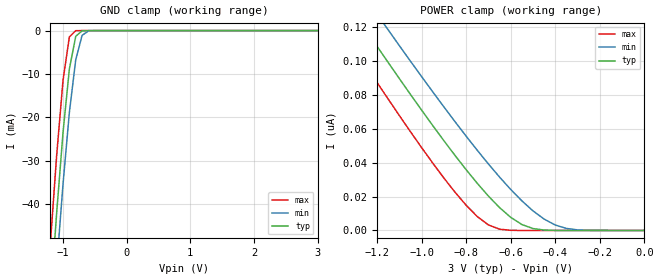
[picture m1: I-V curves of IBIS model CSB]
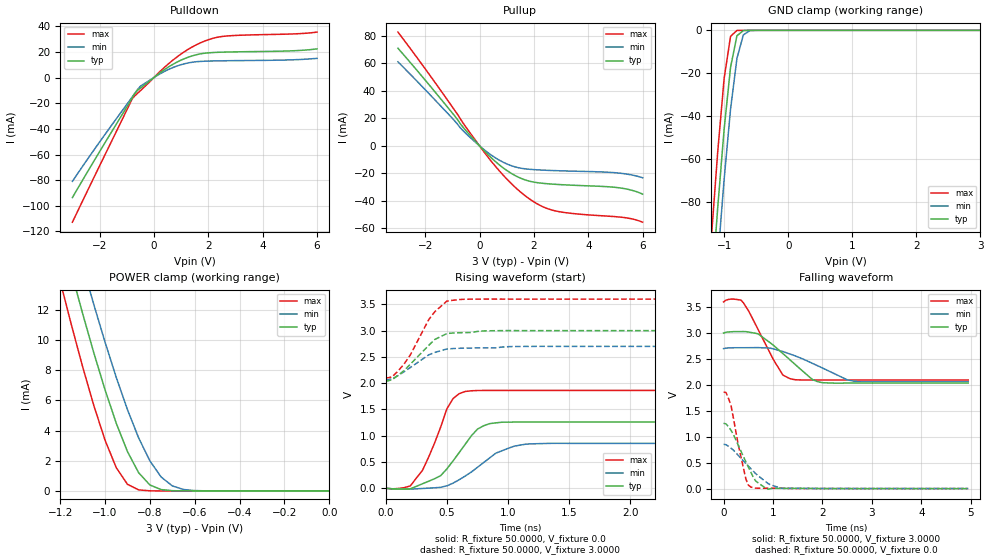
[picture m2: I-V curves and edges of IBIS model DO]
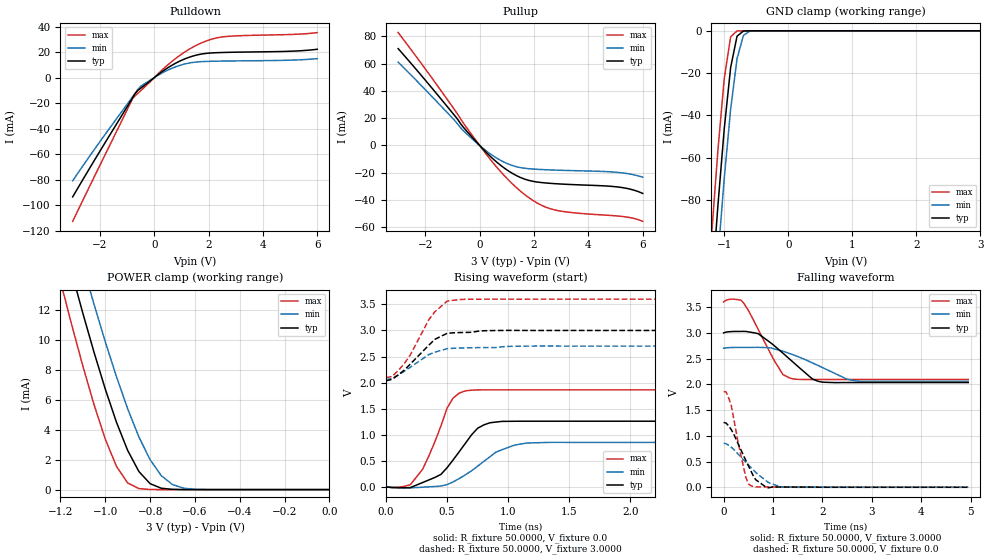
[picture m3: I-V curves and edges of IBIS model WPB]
| IBIS file for W25Q128JVSIQ generated on Fri Jun 12 16:35:37 PDT 2015
| Created by Winbond Electronics Corporation S2IBIS3
[IBIS ver] 3.2
[File name] w25q128jvsiq.ibs
[File Rev] 1.0
[Date]  Jun 12, 2015
[Source] Winbond Electronics Corp. All data is based on simulation
[Notes]  Package Type: 8-pin SOIC 208-mil
|   Revision History
|   Rev 1.0  Jun 12, 2015: First release, 75% PMOS + 25% NMOS
|Note1   I/V tables of IBIS model do not include package model
|   (R_pkg, L_pkg, C_pkg) with hspice version 2008.09
|Note2   Simulation by SPICE model 3v0.2
[Disclaimer] This is for modeling purpose only
[Copyright] All Rights Reserved.
|   Component W25Q128JVSIQ
[Component] W25Q128JVSIQ
[Manufacturer] Winbond Electronics Corp.
[Package]
|variable   typ   min   max
R_pkg   223.926mohm   87.65mohm   379.99mohm
L_pkg   2.108nH   1.735nH   2.957nH
C_pkg   0.3564pF   0.3043pF   0.4189pF
[Pin]   signal_name   model_name   R_pin   L_pin   C_pin
1   /CS   CSB   230.56m   2.063nH   0.3043pF
2   DO(IO1)   DO   195.93m   1.735nH   0.3320pF
3   /WP(IO2)   WPB   256.26m   2.080nH   0.3675pF
4   GND   GND   230.45m   2.595nH   0.4189pF
5   DI(IO0)   DI   379.99m   2.957nH   0.3702pF
6   SCK   SCK   221.74m   2.003nH   0.3621pF
7   /HOLD(IO3)   HOLDB   188.83m   1.742nH   0.3365pF
8   VCC   POWER   87.65m   1.686nH   0.3593pF
| Models and submodels in the file (6): CSB (Input), DO (I/O), WPB (I/O), HOLDB (I/O), SCK (Input), DI (I/O)
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|   Model CSB
[Model]  CSB
Model_type Input
Vinl =   0.9000V
Vinh =   2.1000V
C_comp   1.5000pF   1.4500pF   1.5500pF
[Temperature Range]   25.0000   85.0000   -40.0000
[Voltage Range]   3.0000V   2.7000V   3.6000V
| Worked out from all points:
|   GND clamp passes 1 mA (typ) near -0.77 V on its own axis
[GND_clamp]
|   Voltage   I(typ)   I(min)   I(max)
-3V       -496mA     -505.1mA   -486.8mA
-1.2V     -62.61mA   -75.13mA   -49.28mA
-1.1V     -42.05mA   -54.5mA    -28.84mA
-1V       -23.53mA   -35.4mA    -11.5mA
-900mV    -8.866mA   -18.86mA   -1.466mA
-800mV    -1.317mA   -6.734mA   -26.54uA
-700mV    -57.73uA   -1.112mA   -258.6nA
-600mV    -1.605uA   -80.64uA   -2.377nA
3V        3pA        3.938pA    3pA
[POWER_clamp]
|   Voltage   I(typ)   I(min)   I(max)
-3V       471.5nA    480.6nA    461.7nA
-1.35V    137.6nA    155.8nA    117.1nA
-1.25V    118.2nA    136.9nA    97.1nA
-1.15V    98.99nA    118.2nA    77.41nA
-950mV    61.82nA    81.7nA     39.69nA
-800mV    35.79nA    55.56nA    14.82nA
-700mV    20.24nA    39.17nA    3.26nA
-600mV    7.732nA    24.16nA    97.9pA
-500mV    1.125nA    11.55nA    1.41pA
-400mV    45.1pA     3.207nA    407.5fA
-300mV    1.427pA    348.5pA    300.1fA
0V        0A         0A         0A
|   Model DO
[Model]  DO
Model_type I/O
Polarity   Non-Inverting
Enable   Active-High
Vinl =   0.9000V
Vinh =   2.1000V
Vmeas =  1.5000V
Cref =   30.0000pF
C_comp   1.5000pF   1.4500pF   1.5500pF
[Temperature Range]   25.0000   85.0000   -40.0000
[Voltage Range]   3.0000V   2.7000V   3.6000V
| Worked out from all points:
|   slope of the pulldown table from 0 to 0.45 V, typ, clamps not added: 63.8 ohm
|   slope of the pullup table from 0 to 0.45 V, typ, clamps not added: 49.8 ohm
|   GND clamp passes 1 mA (typ) near -0.74 V on its own axis
|   POWER clamp passes 1 mA (typ) near -0.84 V on its own axis
|   rising waveform, R_fixture 50.0000, V_fixture 0.0: 20-80 % time 249ps typ, 310ps min, 190ps max; typ from 0 V to 1.26 V
|   rising waveform, R_fixture 50.0000, V_fixture 3.0000: 20-80 % time 246ps typ, 258ps min, 222ps max; typ from 2.04 V to 3 V
|   falling waveform, R_fixture 50.0000, V_fixture 3.0000: 20-80 % time 696ps typ, 894ps min, 491ps max; typ from 3 V to 2.04 V
|   falling waveform, R_fixture 50.0000, V_fixture 0.0: 20-80 % time 368ps typ, 545ps min, 234ps max; typ from 1.26 V to 0 V
[Pulldown]
|   Voltage   I(typ)   I(min)   I(max)
-3V       -93.59mA   -80.93mA   -112.8mA
-2V       -57.8mA    -50.28mA   -68.87mA
-800mV    -15.96mA   -15.17mA   -16.57mA
-700mV    -12.38mA   -12.19mA   -14.18mA
-500mV    -8.303mA   -6.812mA   -10.29mA
300mV     4.879mA    3.795mA    6.234mA
800mV     11.49mA    8.62mA     15.25mA
1.6V      17.96mA    12.4mA     25.94mA
2V        19.24mA    12.82mA    29.46mA
2.4V      19.7mA     13mA       31.65mA
5V        20.76mA    13.75mA    33.9mA
6V        22.32mA    14.97mA    35.42mA
[Pullup]
|   Voltage   I(typ)   I(min)   I(max)
-3V       71.01mA    61.13mA    82.78mA
-1.7V     40.73mA    34.68mA    47.85mA
-600mV    13.39mA    10.88mA    16.44mA
100mV     -2.143mA   -1.687mA   -2.694mA
900mV     -16.46mA   -12.22mA   -21.98mA
1.3V      -21.51mA   -15.28mA   -29.95mA
1.7V      -24.95mA   -16.79mA   -36.65mA
2.3V      -27.22mA   -17.65mA   -44.05mA
2.8V      -28.02mA   -18.05mA   -47.41mA
5V        -30.23mA   -19.59mA   -51.56mA
5.5V      -31.82mA   -20.83mA   -52.75mA
6V        -35.14mA   -23.23mA   -55.57mA
[GND_clamp]
|   Voltage   I(typ)   I(min)   I(max)
-3V       -977.7mA   -995.6mA   -959.8mA
-1.2V     -123mA     -147.6mA   -96.82mA
-1.1V     -82.51mA   -107mA     -56.54mA
-1V       -46.02mA   -69.35mA   -22.42mA
-900mV    -17.23mA   -36.8mA    -2.814mA
-800mV    -2.523mA   -13.04mA   -50.32uA
-700mV    -109.5uA   -2.127mA   -489.6nA
-600mV    -3.039uA   -153uA     -4.499nA
3V        3.001pA    4.777pA    3pA
[POWER_clamp]
|   Voltage   I(typ)   I(min)   I(max)
-3V       133.1mA    132.7mA    133.7mA
-1.2V     17.33mA    20.42mA    13.91mA
-1.15V    14.5mA     17.65mA    11.02mA
-1.1V     11.77mA    14.96mA    8.248mA
-1.05V    9.159mA    12.36mA    5.666mA
-950mV    4.494mA    7.534mA    1.546mA
-900mV    2.611mA    5.392mA    441.5uA
-850mV    1.206mA    3.516mA    68.46uA
-800mV    396.2uA    1.996mA    7.313uA
-750mV    90.28uA    927.2uA    692.2nA
-650mV    2.635uA    94.63uA    5.746nA
0V        0A         0A         0A
[Ramp]
|variable   typ   min   max
dV/dt_r   0.5791/0.179n   0.3856/0.424n   0.903/0.173n
dV/dt_f   0.756/0.392n   0.512/0.532n   1.117/0.267n
R_load = 50.0000
[Rising Waveform]
R_fixture= 50.0000
V_fixture= 0.0
V_fixture_min= 0.0
V_fixture_max= 0.0
|   Time   V(typ)   V(min)   V(max)
0s        0V         0V         0V
200ps     -12.12mV   -17.65mV   43.23mV
300ps     84.67mV    -4.638mV   339.4mV
500ps     368.9mV    45.76mV    1.513V
550ps     519.5mV    96.56mV    1.706V
650ps     837.7mV    232.5mV    1.842V
800ps     1.189V     488.4mV    1.861V
900ps     1.244V     667.8mV    1.861V
1.15ns    1.26V      840.4mV    1.861V
4.95ns    1.26V      853.8mV    1.861V
[Rising Waveform]
R_fixture= 50.0000
V_fixture= 3.0000
V_fixture_min= 2.7000
V_fixture_max= 3.6000
|   Time   V(typ)   V(min)   V(max)
0s        2.035V     2.057V     2.095V
50ps      2.062V     2.08V      2.117V
150ps     2.24V      2.216V     2.365V
200ps     2.357V     2.296V     2.533V
350ps     2.716V     2.537V     3.203V
400ps     2.83V      2.584V     3.358V
500ps     2.945V     2.65V      3.562V
550ps     2.954V     2.659V     3.578V
1ns       3.001V     2.694V     3.6V
4.95ns    3V         2.7V       3.6V
[Falling Waveform]
R_fixture= 50.0000
V_fixture= 3.0000
V_fixture_min= 2.7000
V_fixture_max= 3.6000
|   Time   V(typ)   V(min)   V(max)
0s        3V         2.7V       3.6V
200ps     3.027V     2.716V     3.655V
400ps     3.029V     2.717V     3.585V
700ps     2.983V     2.719V     3.066V
1.2ns     2.605V     2.644V     2.189V
1.35ns    2.478V     2.593V     2.118V
1.8ns     2.103V     2.415V     2.094V
2ns       2.043V     2.326V     2.095V
2.7ns     2.035V     2.065V     2.095V
4.95ns    2.035V     2.057V     2.095V
[Falling Waveform]
R_fixture= 50.0000
V_fixture= 0.0
V_fixture_min= 0.0
V_fixture_max= 0.0
|   Time   V(typ)   V(min)   V(max)
0s        1.26V      853.8mV    1.861V
50ps      1.247V     846mV      1.853V
150ps     1.125V     779.9mV    1.609V
300ps     832mV      638.2mV    834.9mV
450ps     519mV      485.4mV    190.5mV
550ps     321.1mV    386.9mV    29.97mV
650ps     146.1mV    288.4mV    7.88mV
850ps     7.595mV    134.7mV    6.212mV
1.2ns     4.347mV    4.692mV    6.162mV
4.95ns    0V         0V         0V
|   Model WPB
[Model]  WPB
Model_type I/O
Polarity   Non-Inverting
Enable   Active-High
Vinl =   0.9000V
Vinh =   2.1000V
Vmeas =  1.5000V
Cref =   30.0000pF
C_comp   1.5000pF   1.4500pF   1.5500pF
[Temperature Range]   25.0000   85.0000   -40.0000
[Voltage Range]   3.0000V   2.7000V   3.6000V
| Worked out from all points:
|   slope of the pulldown table from 0 to 0.45 V, typ, clamps not added: 63.8 ohm
|   slope of the pullup table from 0 to 0.45 V, typ, clamps not added: 49.8 ohm
|   GND clamp passes 1 mA (typ) near -0.74 V on its own axis
|   POWER clamp passes 1 mA (typ) near -0.84 V on its own axis
|   rising waveform, R_fixture 50.0000, V_fixture 0.0: 20-80 % time 249ps typ, 310ps min, 190ps max; typ from 0 V to 1.26 V
|   rising waveform, R_fixture 50.0000, V_fixture 3.0000: 20-80 % time 246ps typ, 258ps min, 222ps max; typ from 2.04 V to 3 V
|   falling waveform, R_fixture 50.0000, V_fixture 3.0000: 20-80 % time 696ps typ, 894ps min, 491ps max; typ from 3 V to 2.04 V
|   falling waveform, R_fixture 50.0000, V_fixture 0.0: 20-80 % time 368ps typ, 545ps min, 234ps max; typ from 1.26 V to 0 V
[Pulldown]
|   Voltage   I(typ)   I(min)   I(max)
-3V       -93.59mA   -80.93mA   -112.8mA
-2V       -57.8mA    -50.28mA   -68.87mA
-800mV    -15.96mA   -15.17mA   -16.57mA
-700mV    -12.38mA   -12.19mA   -14.18mA
-500mV    -8.303mA   -6.812mA   -10.29mA
300mV     4.879mA    3.795mA    6.234mA
800mV     11.49mA    8.62mA     15.25mA
1.6V      17.96mA    12.4mA     25.94mA
2V        19.24mA    12.82mA    29.46mA
2.4V      19.7mA     13mA       31.65mA
5V        20.76mA    13.75mA    33.9mA
6V        22.32mA    14.97mA    35.42mA
[Pullup]
|   Voltage   I(typ)   I(min)   I(max)
-3V       71.01mA    61.13mA    82.78mA
-1.7V     40.73mA    34.68mA    47.85mA
-600mV    13.39mA    10.88mA    16.44mA
100mV     -2.143mA   -1.687mA   -2.694mA
900mV     -16.46mA   -12.22mA   -21.98mA
1.3V      -21.51mA   -15.28mA   -29.95mA
1.7V      -24.95mA   -16.79mA   -36.65mA
2.3V      -27.22mA   -17.65mA   -44.05mA
2.8V      -28.02mA   -18.05mA   -47.41mA
5V        -30.23mA   -19.59mA   -51.56mA
5.5V      -31.82mA   -20.83mA   -52.75mA
6V        -35.14mA   -23.23mA   -55.57mA
[GND_clamp]
|   Voltage   I(typ)   I(min)   I(max)
-3V       -987.2mA   -1.005A    -969.2mA
-1.2V     -124.2mA   -149mA     -97.76mA
-1.1V     -83.31mA   -108mA     -57.09mA
-1V       -46.47mA   -70.02mA   -22.64mA
-900mV    -17.4mA    -37.16mA   -2.84mA
-800mV    -2.547mA   -13.17mA   -50.79uA
-700mV    -110.5uA   -2.147mA   -494.1nA
-600mV    -3.067uA   -154.5uA   -4.541nA
3V        3.001pA    4.793pA    3pA
[POWER_clamp]
|   Voltage   I(typ)   I(min)   I(max)
-3V       133.5mA    133.1mA    134.2mA
-1.2V     17.38mA    20.48mA    13.96mA
-1.15V    14.55mA    17.71mA    11.05mA
-1.1V     11.81mA    15.01mA    8.274mA
-1.05V    9.187mA    12.4mA     5.684mA
-950mV    4.508mA    7.558mA    1.551mA
-900mV    2.619mA    5.409mA    442.7uA
-850mV    1.21mA     3.526mA    68.64uA
-800mV    397.3uA    2.002mA    7.332uA
-750mV    90.51uA    929.9uA    693.9nA
-650mV    2.641uA    94.88uA    5.76nA
0V        0A         0A         0A
[Ramp]
|variable   typ   min   max
dV/dt_r   0.5791/0.179n   0.3856/0.424n   0.903/0.173n
dV/dt_f   0.756/0.392n   0.512/0.532n   1.117/0.267n
R_load = 50.0000
[Rising Waveform]
R_fixture= 50.0000
V_fixture= 0.0
V_fixture_min= 0.0
V_fixture_max= 0.0
|   Time   V(typ)   V(min)   V(max)
0s        0V         0V         0V
200ps     -12.12mV   -17.65mV   43.23mV
300ps     84.67mV    -4.638mV   339.4mV
500ps     368.9mV    45.76mV    1.513V
550ps     519.5mV    96.56mV    1.706V
650ps     837.7mV    232.5mV    1.842V
800ps     1.189V     488.4mV    1.861V
900ps     1.244V     667.8mV    1.861V
1.15ns    1.26V      840.4mV    1.861V
4.95ns    1.26V      853.8mV    1.861V
[Rising Waveform]
R_fixture= 50.0000
V_fixture= 3.0000
V_fixture_min= 2.7000
V_fixture_max= 3.6000
|   Time   V(typ)   V(min)   V(max)
0s        2.035V     2.057V     2.095V
50ps      2.062V     2.08V      2.117V
150ps     2.24V      2.216V     2.365V
200ps     2.357V     2.296V     2.533V
350ps     2.716V     2.537V     3.203V
400ps     2.83V      2.584V     3.358V
500ps     2.945V     2.65V      3.562V
550ps     2.954V     2.659V     3.578V
1ns       3.001V     2.694V     3.6V
4.95ns    3V         2.7V       3.6V
[Falling Waveform]
R_fixture= 50.0000
V_fixture= 3.0000
V_fixture_min= 2.7000
V_fixture_max= 3.6000
|   Time   V(typ)   V(min)   V(max)
0s        3V         2.7V       3.6V
200ps     3.027V     2.716V     3.655V
400ps     3.029V     2.717V     3.585V
700ps     2.983V     2.719V     3.066V
1.2ns     2.605V     2.644V     2.189V
1.35ns    2.478V     2.593V     2.118V
1.8ns     2.103V     2.415V     2.094V
2ns       2.043V     2.326V     2.095V
2.7ns     2.035V     2.065V     2.095V
4.95ns    2.035V     2.057V     2.095V
[Falling Waveform]
R_fixture= 50.0000
V_fixture= 0.0
V_fixture_min= 0.0
V_fixture_max= 0.0
|   Time   V(typ)   V(min)   V(max)
0s        1.26V      853.8mV    1.861V
50ps      1.247V     846mV      1.853V
150ps     1.125V     779.9mV    1.609V
300ps     832mV      638.2mV    834.9mV
450ps     519mV      485.4mV    190.5mV
550ps     321.1mV    386.9mV    29.97mV
650ps     146.1mV    288.4mV    7.88mV
850ps     7.595mV    134.7mV    6.212mV
1.2ns     4.347mV    4.692mV    6.162mV
4.95ns    0V         0V         0V
